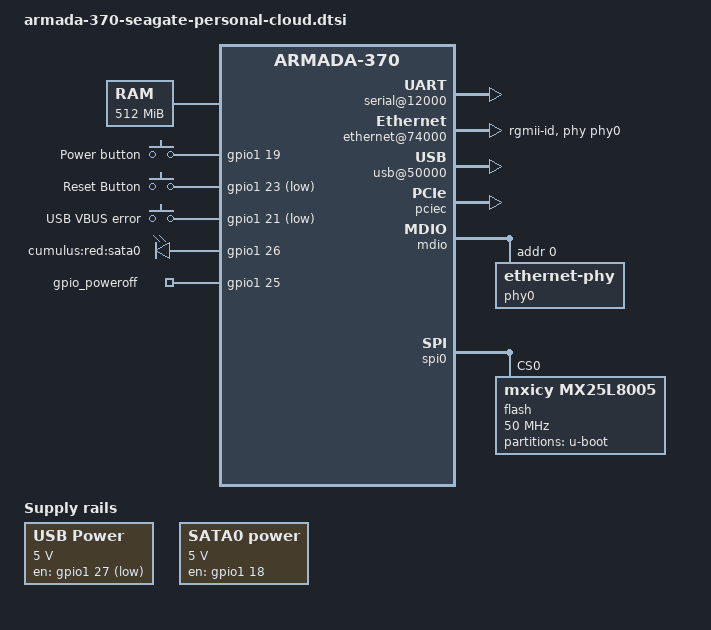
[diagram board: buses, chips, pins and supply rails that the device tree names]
// SPDX-License-Identifier: GPL-2.0
/*
 * Device Tree common file for the Seagate Personal Cloud NAS 1 and 2-Bay
 * (Armada 370 SoC).
 *
 * Copyright (C) 2015 Seagate
 *
 * Author: Simon Guinot <simon.guinot@sequanux.org>
 */

/*
 * TODO: add support for the white SATA LED.
 */

#include "armada-370.dtsi"
#include <dt-bindings/gpio/gpio.h>
#include <dt-bindings/input/input.h>

/ {
	chosen {
		stdout-path = "serial0:115200n8";
	};

	memory@0 {
		device_type = "memory";
		reg = <0x00000000 0x20000000>; /* 512 MB */
	};

	soc {
		ranges = <MBUS_ID(0xf0, 0x01) 0 0xf1000000 0x100000
			  MBUS_ID(0x01, 0xe0) 0 0xfff00000 0x100000>;

		internal-regs {
			coherency-fabric@20200 {
				broken-idle;
			};

			serial@12000 {
				status = "okay";
			};

			ethernet@74000 {
				status = "okay";
				pinctrl-0 = <&ge1_rgmii_pins>;
				pinctrl-names = "default";
				phy = <&phy0>;
				phy-mode = "rgmii-id";
			};

			usb@50000 {
				status = "okay";
			};
		};
	};

	regulators {
		compatible = "simple-bus";
		#address-cells = <1>;
		#size-cells = <0>;

		regulator@0 {
			compatible = "regulator-fixed";
			reg = <0>;
			regulator-name = "USB Power";
			regulator-min-microvolt = <5000000>;
			regulator-max-microvolt = <5000000>;
			regulator-always-on;
			regulator-boot-on;
			gpio = <&gpio1 27 GPIO_ACTIVE_LOW>;
		};
		regulator@1 {
			compatible = "regulator-fixed";
			reg = <1>;
			regulator-name = "SATA0 power";
			regulator-min-microvolt = <5000000>;
			regulator-max-microvolt = <5000000>;
			enable-active-high;
			regulator-always-on;
			regulator-boot-on;
			gpio = <&gpio1 18 GPIO_ACTIVE_HIGH>;
		};
	};

	gpio-keys {
		compatible = "gpio-keys";

		button-power {
			label = "Power button";
			linux,code = <KEY_POWER>;
			gpios = <&gpio1 19 GPIO_ACTIVE_HIGH>;
			debounce-interval = <100>;
		};
		button-reset {
			label = "Reset Button";
			linux,code = <KEY_RESTART>;
			gpios = <&gpio1 23 GPIO_ACTIVE_LOW>;
			debounce-interval = <100>;
		};
		button-usb {
			label = "USB VBUS error";
			linux,code = <KEY_UNKNOWN>;
			gpios = <&gpio1 21 GPIO_ACTIVE_LOW>;
			debounce-interval = <100>;
		};
	};

	gpio-leds {
		compatible = "gpio-leds";

		red-sata0 {
			label = "cumulus:red:sata0";
			gpios = <&gpio1 26 GPIO_ACTIVE_HIGH>;
			default-state = "off";
		};
	};

	gpio_poweroff {
		compatible = "gpio-poweroff";
		gpios = <&gpio1 25 GPIO_ACTIVE_HIGH>;
	};
};

&pciec {
	status = "okay";

	/* USB 3.0 Bridge ASM1042A */
	pcie@1,0 {
		status = "okay";
	};
};

&mdio {
	pinctrl-0 = <&mdio_pins>;
	pinctrl-names = "default";

	phy0: ethernet-phy@0 {
		reg = <0>;
	};
};

&pinctrl {
	pinctrl-0 = <&sata_led_pin>;
	pinctrl-names = "default";

	sata_led_pin: sata-led-pin {
		marvell,pins = "mpp60";
		marvell,function = "sata0";
	};
	gpio_led_pin: gpio-led-pin {
		marvell,pins = "mpp60";
		marvell,function = "gpio";
	};
};

&spi0 {
	status = "okay";
	pinctrl-0 = <&spi0_pins2>;
	pinctrl-names = "default";

	flash@0 {
		#address-cells = <1>;
		#size-cells = <1>;
		/* MX25L8006E */
		compatible = "mxicy,mx25l8005", "jedec,spi-nor";
		reg = <0>; /* Chip select 0 */
		spi-max-frequency = <50000000>;

		partition@0 {
			label = "u-boot";
			reg = <0x0 0x100000>;
		};
	};
};
